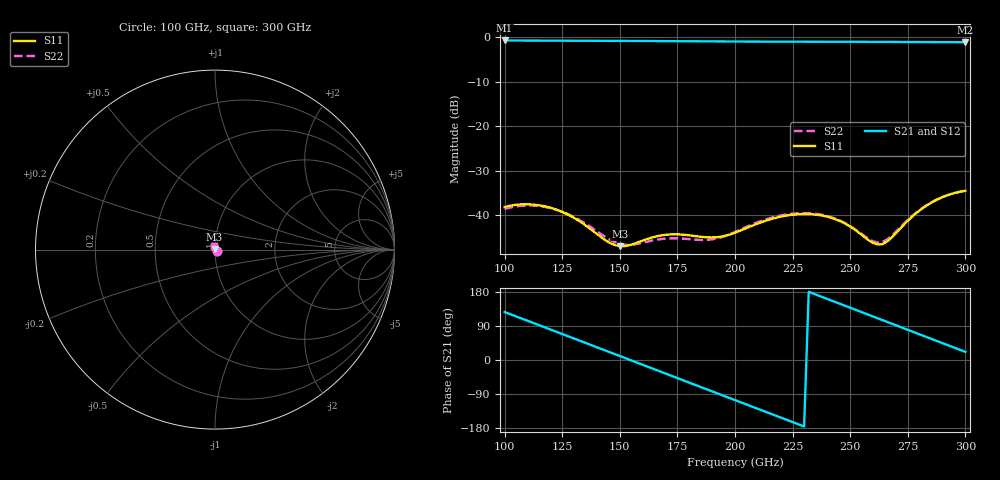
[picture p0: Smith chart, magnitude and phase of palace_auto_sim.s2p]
#  GHZ S DB R 50
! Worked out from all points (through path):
!   101 points, 100 GHz to 300 GHz, reference 50 ohm
!   highest |S21| = -0.70 dB at 100 GHz (marker M1); lowest = -1.1 dB at 300 GHz (marker M2)
!   group delay of S21, straight-line fit = 6.46 ps
!   lowest |S11| = -46.9 dB at 150 GHz (marker M3), VSWR 1.01, Z = 49.8 + j0.376 ohm
!   |S11| at or under -10 dB: start of sweep to end of sweep
!   |S22| runs from -46.7 to -34.5 dB; largest |S21 - S12| = 1.6e-13
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100  -38.13 -27.3  -0.70 126.6  -0.70 126.6  -38.60 -26.4
108  -37.54 -49.0  -0.72 108.1  -0.72 108.1  -37.84 -48.8
116  -37.85 -71.8  -0.74 89.5  -0.74 89.5  -38.01 -72.1
124  -39.04 -97.3  -0.75 71.0  -0.75 71.0  -39.03 -97.9
134  -41.87 -136.0  -0.77 47.7  -0.77 47.7  -41.53 -136.4
150  -46.95 122.9  -0.80 10.5  -0.80 10.5  -46.45 129.6
158  -46.06 66.1  -0.82 -8.2  -0.82 -8.2  -46.39 73.5
168  -44.53 12.3  -0.85 -31.4  -0.85 -31.4  -45.35 16.2
184  -44.77 -68.5  -0.89 -68.7  -0.89 -68.7  -45.53 -70.6
192  -44.94 -116.3  -0.92 -87.3  -0.92 -87.3  -45.23 -120.2
200  -43.92 -163.9  -0.94 -105.8  -0.94 -105.8  -43.76 -166.8
208  -42.24 156.3  -0.96 -124.4  -0.96 -124.4  -41.94 155.3
218  -40.53 117.3  -0.97 -147.6  -0.97 -147.6  -40.26 117.6
226  -39.82 90.9  -0.98 -166.2  -0.98 -166.2  -39.59 91.5
234  -39.79 65.7  -0.99 175.2  -0.99 175.2  -39.61 66.3
242  -40.61 39.3  -0.99 156.6  -0.99 156.6  -40.46 39.6
250  -42.55 7.9  -1.00 137.9  -1.00 137.9  -42.41 7.8
262  -46.59 -72.6  -1.02 109.9  -1.02 109.9  -46.16 -72.7
268  -45.02 -126.5  -1.03 95.9  -1.03 95.9  -44.60 -124.7
282  -38.21 161.5  -1.06 63.3  -1.06 63.3  -38.11 163.7
292  -35.53 127.9  -1.08 40.0  -1.08 40.0  -35.51 129.8
300  -34.50 103.8  -1.10 21.4  -1.10 21.4  -34.52 105.4
